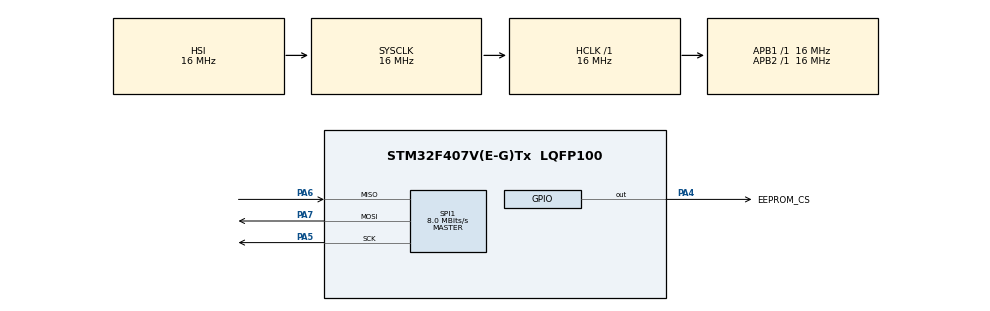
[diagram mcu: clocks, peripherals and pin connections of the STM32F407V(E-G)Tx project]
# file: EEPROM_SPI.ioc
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Mcu.Family=STM32F4
Mcu.Name=STM32F407V(E-G)Tx
Mcu.Package=LQFP100
NVIC.PriorityGroup=NVIC_PRIORITYGROUP_4
PA13.Mode=Serial_Wire
PA13.Signal=SYS_JTMS-SWDIO
PA14.Mode=Serial_Wire
PA14.Signal=SYS_JTCK-SWCLK
PA4.GPIO_Label=EEPROM_CS
PA4.Signal=GPIO_Output
PA5.Mode=Full_Duplex_Master
PA5.Signal=SPI1_SCK
PA6.Mode=Full_Duplex_Master
PA6.Signal=SPI1_MISO
PA7.Mode=Full_Duplex_Master
PA7.Signal=SPI1_MOSI
PH0-OSC_IN.Mode=HSE-External-Oscillator
PH0-OSC_IN.Signal=RCC_OSC_IN
PH1-OSC_OUT.Mode=HSE-External-Oscillator
PH1-OSC_OUT.Signal=RCC_OSC_OUT
ProjectManager.HeapSize=0x200
ProjectManager.StackSize=0x400
ProjectManager.TargetToolchain=STM32CubeIDE
RCC.AHBFreq_Value=16000000
RCC.APB1Freq_Value=16000000
RCC.APB2Freq_Value=16000000
RCC.CortexFreq_Value=16000000
RCC.HSE_VALUE=25000000
RCC.HSI_VALUE=16000000
RCC.LSE_VALUE=32768
RCC.SYSCLKFreq_VALUE=16000000
RCC.VCOOutputFreq_Value=192000000
SPI1.CalculateBaudRate=8.0 MBits/s
SPI1.Direction=SPI_DIRECTION_2LINES
SPI1.Mode=SPI_MODE_MASTER
SPI1.VirtualType=VM_MASTER
board=STM32F407G-DISC1

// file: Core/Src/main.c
/* USER CODE BEGIN Header */
/**
  ******************************************************************************
  * @file           : main.c
  * @brief          : Main program body
  ******************************************************************************
  * @attention
  *
  * Copyright (c) 2026 STMicroelectronics.
  * All rights reserved.
  *
  * This software is licensed under terms that can be found in the LICENSE file
  * in the root directory of this software component.
  * If no LICENSE file comes with this software, it is provided AS-IS.
  *
  ******************************************************************************
  */
/* USER CODE END Header */
#include "main.h"

/* USER CODE BEGIN Includes */
#include "eeprom_m95m02.h"
#include <stdio.h>
/* USER CODE END Includes */

SPI_HandleTypeDef hspi1;

void SystemClock_Config(void);
static void MX_GPIO_Init(void);
static void MX_SPI1_Init(void);

/* USER CODE BEGIN 0 */
int _write(int file, char *ptr, int len) {
    int i;
    for (i = 0; i < len; i++) {
        ITM_SendChar((*ptr++));
    }
    return len;
}
/* USER CODE END 0 */

int main(void)
{

  /* USER CODE BEGIN 1 */
	if (EEPROM_Init(&hspi1, GPIOA, GPIO_PIN_4) != HAL_OK) {
	      // Error handling: Driver failure
	      Error_Handler();
	  }

	  uint8_t tx_val = 0xA5;
	  uint8_t rx_val = 0x00;
	  uint32_t target_addr = 0x001234; // Example 24-bit address

	  // Write with verification
	  if (EEPROM_WriteByte(target_addr, tx_val) != HAL_OK) {
	      // Write error handling block (stuck WIP, write protection active, validation failed)
	      printf("EEPROM Write Failed!\r\n");
	  } else {
	      printf("EEPROM Write Success!\r\n");
	  }

	  // Read back
	  if (EEPROM_ReadByte(target_addr, &rx_val) != HAL_OK) {
	      // Read error handling block
	      printf("EEPROM Read Failed!\r\n");
	  }
  /* USER CODE END 1 */

  /* MCU Configuration--------------------------------------------------------*/

  /* Reset of all peripherals, Initializes the Flash interface and the Systick. */
  HAL_Init();

  /* Configure the system clock */
  SystemClock_Config();

  /* Initialize all configured peripherals */
  MX_GPIO_Init();
  MX_SPI1_Init();

  /* Infinite loop */
  while (1)
  {

  }
}

void SystemClock_Config(void)
{
  RCC_OscInitTypeDef RCC_OscInitStruct = {0};
  RCC_ClkInitTypeDef RCC_ClkInitStruct = {0};

  /** Configure the main internal regulator output voltage
  */
  __HAL_RCC_PWR_CLK_ENABLE();
  __HAL_PWR_VOLTAGESCALING_CONFIG(PWR_REGULATOR_VOLTAGE_SCALE1);

  /** Initializes the RCC Oscillators according to the specified parameters
  * in the RCC_OscInitTypeDef structure.
  */
  RCC_OscInitStruct.OscillatorType = RCC_OSCILLATORTYPE_HSI;
  RCC_OscInitStruct.HSIState = RCC_HSI_ON;
  RCC_OscInitStruct.HSICalibrationValue = RCC_HSICALIBRATION_DEFAULT;
  RCC_OscInitStruct.PLL.PLLState = RCC_PLL_NONE;
  if (HAL_RCC_OscConfig(&RCC_OscInitStruct) != HAL_OK)
  {
    Error_Handler();
  }

  /** Initializes the CPU, AHB and APB buses clocks
  */
  RCC_ClkInitStruct.ClockType = RCC_CLOCKTYPE_HCLK|RCC_CLOCKTYPE_SYSCLK
                              |RCC_CLOCKTYPE_PCLK1|RCC_CLOCKTYPE_PCLK2;
  RCC_ClkInitStruct.SYSCLKSource = RCC_SYSCLKSOURCE_HSI;
  RCC_ClkInitStruct.AHBCLKDivider = RCC_SYSCLK_DIV1;
  RCC_ClkInitStruct.APB1CLKDivider = RCC_HCLK_DIV1;
  RCC_ClkInitStruct.APB2CLKDivider = RCC_HCLK_DIV1;

  if (HAL_RCC_ClockConfig(&RCC_ClkInitStruct, FLASH_LATENCY_0) != HAL_OK)
  {
    Error_Handler();
  }
}

static void MX_SPI1_Init(void)
{

  /* SPI1 parameter configuration*/
  hspi1.Instance = SPI1;
  hspi1.Init.Mode = SPI_MODE_MASTER;
  hspi1.Init.Direction = SPI_DIRECTION_2LINES;
  hspi1.Init.DataSize = SPI_DATASIZE_8BIT;
  hspi1.Init.CLKPolarity = SPI_POLARITY_LOW;
  hspi1.Init.CLKPhase = SPI_PHASE_1EDGE;
  hspi1.Init.NSS = SPI_NSS_SOFT;
  hspi1.Init.BaudRatePrescaler = SPI_BAUDRATEPRESCALER_2;
  hspi1.Init.FirstBit = SPI_FIRSTBIT_MSB;
  hspi1.Init.TIMode = SPI_TIMODE_DISABLE;
  hspi1.Init.CRCCalculation = SPI_CRCCALCULATION_DISABLE;
  hspi1.Init.CRCPolynomial = 10;
  if (HAL_SPI_Init(&hspi1) != HAL_OK)
  {
    Error_Handler();
  }

}

static void MX_GPIO_Init(void)
{
  GPIO_InitTypeDef GPIO_InitStruct = {0};

  /* GPIO Ports Clock Enable */
  __HAL_RCC_GPIOH_CLK_ENABLE();
  __HAL_RCC_GPIOA_CLK_ENABLE();

  /*Configure GPIO pin Output Level */
  HAL_GPIO_WritePin(EEPROM_CS_GPIO_Port, EEPROM_CS_Pin, GPIO_PIN_RESET);

  /*Configure GPIO pin : EEPROM_CS_Pin */
  GPIO_InitStruct.Pin = EEPROM_CS_Pin;
  GPIO_InitStruct.Mode = GPIO_MODE_OUTPUT_PP;
  GPIO_InitStruct.Pull = GPIO_NOPULL;
  GPIO_InitStruct.Speed = GPIO_SPEED_FREQ_LOW;
  HAL_GPIO_Init(EEPROM_CS_GPIO_Port, &GPIO_InitStruct);

}

void Error_Handler(void)
{
  __disable_irq();
  while (1)
  {
  }
}
